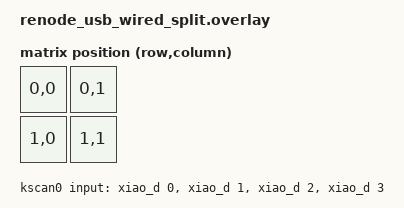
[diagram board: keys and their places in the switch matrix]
/*
 * CENTRAL half of the usb+wired split shield, used only by `west zmk-renode-test
 * --host-link usb --split-link wired` (see docs/renode-transport-orthogonal.md).
 * The peripheral half is the plain renode_wired_split shield (role peripheral).
 *
 * Layout:
 *   - console (boot banner + relayed "position: %d" log) on uart0, on a Renode
 *     TCP socket;
 *   - ZMK's `zmk,wired-split` transport on uart1 -- cross-connected to the
 *     peripheral's uart1 through a Renode UART hub (platforms/usb_wired_split.resc);
 *   - USB stays ENABLED: the studio-rpc-usb-uart snippet (added by
 *     build-usb-split.yaml) puts the Studio RPC CDC on &zephyr_udc0, and the
 *     harness attaches a DualCdcAcmBridge to it after boot;
 *   - Studio-ready like renode_tester / renode_split: a zmk,physical-layout with
 *     key_physical_attrs and NO chosen zmk,matrix-transform (CONFIG_ZMK_STUDIO
 *     build-asserts on exactly that shape -- the transform is referenced from
 *     the physical layout instead);
 *   - a 2x2 direct-GPIO kscan + transform so the peripheral's first key (xiao_d
 *     0 == gpio0 pin 2) relays to the central as keymap position 0 (the smoke
 *     asserts the central logs "position: 0").
 *
 * Renode gotchas (as in the renode-studio-uart snippet / renode_wired_split):
 * the stock xiao_ble enables &qspi/&p25q16h (external NOR) whose readiness
 * events Renode does not model, so that driver busy-waits forever -- disable it.
 * Unlike renode_wired_split, DO NOT disable &usbd here (USB carries Studio); the
 * NRF_USBD_Full model handles USB. Disable only the board's console-over-USB CDC
 * (board_cdc_acm_uart) so console stays on uart0 and USB presents a single CDC.
 */
#include <dt-bindings/zmk/matrix_transform.h>
#include <physical_layouts.dtsi>

&qspi {
	status = "disabled";
};

&p25q16h {
	status = "disabled";
};

&board_cdc_acm_uart {
	status = "disabled";
};

&pinctrl {
	uart1_default: uart1_default {
		group1 {
			psels = <NRF_PSEL(UART_TX, 0, 2)>;
		};
		group2 {
			psels = <NRF_PSEL(UART_RX, 0, 3)>;
			bias-pull-up;
		};
	};

	uart1_sleep: uart1_sleep {
		group1 {
			psels = <NRF_PSEL(UART_TX, 0, 2)>,
					<NRF_PSEL(UART_RX, 0, 3)>;
			low-power-enable;
		};
	};
};

&uart0 {
	status = "okay";
};

&uart1 {
	compatible = "nordic,nrf-uarte";
	status = "okay";
	current-speed = <115200>;
	pinctrl-0 = <&uart1_default>;
	pinctrl-1 = <&uart1_sleep>;
	pinctrl-names = "default", "sleep";
};

/ {
	chosen {
		zephyr,console = &uart0;
		zephyr,shell-uart = &uart0;
		zmk,kscan = &kscan0;
		/* NO zmk,matrix-transform chosen -- CONFIG_ZMK_STUDIO build-asserts
		 * against it; the transform is referenced from the physical layout. */
	};

	kscan0: kscan {
		compatible = "zmk,kscan-gpio-direct";
		input-gpios
			= <&xiao_d 0 (GPIO_ACTIVE_LOW | GPIO_PULL_UP)>
			, <&xiao_d 1 (GPIO_ACTIVE_LOW | GPIO_PULL_UP)>
			, <&xiao_d 2 (GPIO_ACTIVE_LOW | GPIO_PULL_UP)>
			, <&xiao_d 3 (GPIO_ACTIVE_LOW | GPIO_PULL_UP)>
			;
	};

	transform0: keymap_transform {
		compatible = "zmk,matrix-transform";
		columns = <2>;
		rows = <2>;
		map = <
		RC(0,0)  RC(0,1)
		RC(1,0)  RC(1,1)
		>;
	};

	physical_layout0: physical_layout0 {
		compatible = "zmk,physical-layout";
		display-name = "RenodeUsbWired";
		transform = <&transform0>;
		keys  /* w   h    x    y   rot  rx  ry */
			= <&key_physical_attrs 100 100   0   0 0 0 0>
			, <&key_physical_attrs 100 100 100   0 0 0 0>
			, <&key_physical_attrs 100 100   0 100 0 0 0>
			, <&key_physical_attrs 100 100 100 100 0 0 0>
			;
	};

	wired_split: wired_split {
		compatible = "zmk,wired-split";
		device = <&uart1>;
	};
};
